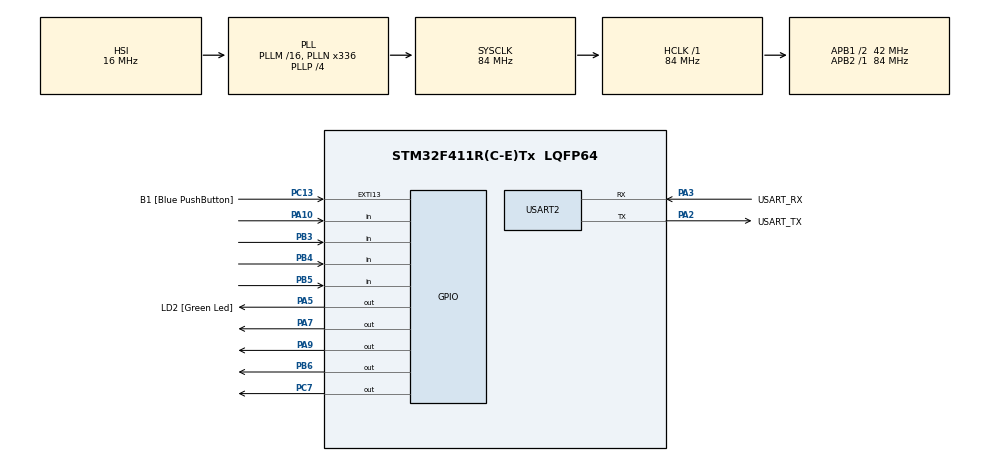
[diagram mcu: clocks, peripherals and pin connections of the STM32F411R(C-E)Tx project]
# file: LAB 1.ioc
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Mcu.Family=STM32F4
Mcu.Name=STM32F411R(C-E)Tx
Mcu.Package=LQFP64
NVIC.PriorityGroup=NVIC_PRIORITYGROUP_0
PA10.Signal=GPIO_Input
PA13.GPIO_Label=TMS
PA13.Mode=Serial_Wire
PA13.Signal=SYS_JTMS-SWDIO
PA14.GPIO_Label=TCK
PA14.Mode=Serial_Wire
PA14.Signal=SYS_JTCK-SWCLK
PA2.GPIO_Label=USART_TX
PA2.Mode=Asynchronous
PA2.Signal=USART2_TX
PA3.GPIO_Label=USART_RX
PA3.Mode=Asynchronous
PA3.Signal=USART2_RX
PA5.GPIO_Label=LD2 [Green Led]
PA5.Signal=GPIO_Output
PA7.Signal=GPIO_Output
PA9.Signal=GPIO_Output
PB3.Signal=GPIO_Input
PB4.Signal=GPIO_Input
PB5.Signal=GPIO_Input
PB6.Signal=GPIO_Output
PC13-ANTI_TAMP.GPIO_Label=B1 [Blue PushButton]
PC13-ANTI_TAMP.GPIO_ModeDefaultEXTI=GPIO_MODE_IT_FALLING
PC13-ANTI_TAMP.Signal=GPXTI13
PC14-OSC32_IN.Mode=LSE-External-Oscillator
PC14-OSC32_IN.Signal=RCC_OSC32_IN
PC15-OSC32_OUT.Mode=LSE-External-Oscillator
PC15-OSC32_OUT.Signal=RCC_OSC32_OUT
PC7.Signal=GPIO_Output
PH0\ -\ OSC_IN.Mode=HSE-External-Clock-Source
PH0\ -\ OSC_IN.Signal=RCC_OSC_IN
PH1\ -\ OSC_OUT.Mode=HSE-External-Clock-Source
PH1\ -\ OSC_OUT.Signal=RCC_OSC_OUT
ProjectManager.HeapSize=0x200
ProjectManager.StackSize=0x400
ProjectManager.TargetToolchain=STM32CubeIDE
RCC.48MHZClocksFreq_Value=84000000
RCC.AHBFreq_Value=84000000
RCC.APB1CLKDivider=RCC_HCLK_DIV2
RCC.APB1Freq_Value=42000000
RCC.APB1TimFreq_Value=84000000
RCC.APB2Freq_Value=84000000
RCC.APB2TimFreq_Value=84000000
RCC.CortexFreq_Value=84000000
RCC.FLatency-AdvancedSettings=FLASH_LATENCY_2
RCC.HCLKFreq_Value=84000000
RCC.HSE_VALUE=8000000
RCC.HSI_VALUE=16000000
RCC.PLLN=336
RCC.PLLP=RCC_PLLP_DIV4
RCC.SYSCLKFreq_VALUE=84000000
RCC.SYSCLKSource=RCC_SYSCLKSOURCE_PLLCLK
RCC.VCOOutputFreq_Value=336000000
USART2.VirtualMode=VM_ASYNC
board=NUCLEO-F411RE

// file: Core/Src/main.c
/* USER CODE BEGIN Header */
/**
  ******************************************************************************
  * @file           : main.c
  * @brief          : Main program body
  ******************************************************************************
  * @attention
  *
  * <h2><center>&copy; Copyright (c) 2021 STMicroelectronics.
  * All rights reserved.</center></h2>
  *
  * This software component is licensed by ST under BSD 3-Clause license,
  * the "License"; You may not use this file except in compliance with the
  * License. You may obtain a copy of the License at:
  *                        opensource.org/licenses/BSD-3-Clause
  *
  ******************************************************************************
  */
/* USER CODE END Header */
#include "main.h"

UART_HandleTypeDef huart2;

void SystemClock_Config(void);
static void MX_GPIO_Init(void);
static void MX_USART2_UART_Init(void);

int main(void)
{

  /* MCU Configuration--------------------------------------------------------*/

  /* Reset of all peripherals, Initializes the Flash interface and the Systick. */
  HAL_Init();

  /* Configure the system clock */
  SystemClock_Config();

  /* Initialize all configured peripherals */
  MX_GPIO_Init();
  MX_USART2_UART_Init();
  /* USER CODE BEGIN 2 */
  GPIO_PinState SwitchStateS1[2]; 	// 2 states => present,last	//Switch S1
  GPIO_PinState SwitchStateS2[2];	// Switch S2
  GPIO_PinState SwitchStateS3[2];	// Switch S3
  uint16_t LED1HalfPeriod = 1000;	// LED D1 Blink at 0.5 Hz as default
  uint32_t TimeStamp = 0;
  uint32_t ButtonTimeStamp = 0;
  uint16_t onoff = 1;				// LED D3 ON as default
  uint16_t mode = 1;				// LED D5 mode 1 => on 0.5 s off 1.5 s, mode 0 => on 1.5 s off 0.5 s
  uint32_t timecount = 0 ;			// TimeCount for LED D5
  /* USER CODE END 2 */

  /* Infinite loop */
  while (1)
  {

    /* USER CODE BEGIN 3 */
	  //default switch state is high==set, pressed switch state is low==reset
	 if(HAL_GetTick() - ButtonTimeStamp >= 100)	//millisecond
	 {
		 ButtonTimeStamp = HAL_GetTick();
		 //Task 1 Start	//Task 2 Start	//Task 3 Start
	  SwitchStateS1[0] = HAL_GPIO_ReadPin(GPIOA, GPIO_PIN_10);	//PA10 => Switch S1
	  SwitchStateS2[0] = HAL_GPIO_ReadPin(GPIOB, GPIO_PIN_3);	//PB3 => Switch S2
	  SwitchStateS3[0] = HAL_GPIO_ReadPin(GPIOB, GPIO_PIN_5);	//PB5 => Switch S3
	  if(SwitchStateS1[1] == GPIO_PIN_SET && SwitchStateS1[0] == GPIO_PIN_RESET) // if last state is high, present state is low => falling edge
	  {
		  // Change Half Period of LED 1
		  if(LED1HalfPeriod == 1000)
		  {
			  LED1HalfPeriod = 500;
		  }
		  else if(LED1HalfPeriod == 500)
		  {
			  LED1HalfPeriod = 250;
		  }
		  else if(LED1HalfPeriod == 250)
		  {
			  LED1HalfPeriod = 500/3;
		  }
		  else
		  {
			  LED1HalfPeriod = 1000;
		  }
	  }
	  SwitchStateS1[1] = SwitchStateS1[0];

	  if(SwitchStateS2[1] == GPIO_PIN_SET && SwitchStateS2[0] == GPIO_PIN_RESET)
	  {
		  if(onoff == 1)	// LED D3 On
		  {
			  HAL_GPIO_WritePin(GPIOC, GPIO_PIN_7, GPIO_PIN_SET);	//PC7 => LED D3
			  onoff = 0;
		  }
		  else				// LED D3 Off
		  {
			  HAL_GPIO_WritePin(GPIOC, GPIO_PIN_7, GPIO_PIN_RESET);
			  onoff = 1;
		  }
	  }
	  SwitchStateS2[1] = SwitchStateS2[0];
	  	  // Task 2 End

	  if(SwitchStateS3[1] == GPIO_PIN_SET && SwitchStateS3[0] == GPIO_PIN_RESET)
	  {
		  if(mode == 1)  //swap mode
		  {
			  mode = 0;
		  }
		  else
		  {
			  mode = 1 ;
		  }
	  }

	  if(mode == 1) // on 0.5 s off 1.5 s	//RESET => LED ON	//SET => LED OFF
	  {
		  if(HAL_GetTick() - timecount >= 500)
		  {
			  if(HAL_GPIO_ReadPin(GPIOB, GPIO_PIN_6) == GPIO_PIN_RESET)
			  {
				  HAL_GPIO_WritePin(GPIOB, GPIO_PIN_6, GPIO_PIN_SET);
				  timecount = HAL_GetTick();
			  }
		  }
		  if(HAL_GetTick() - timecount >= 1500)
		  {
			  if(HAL_GPIO_ReadPin(GPIOB, GPIO_PIN_6) == GPIO_PIN_SET)
			  {
				  HAL_GPIO_WritePin(GPIOB, GPIO_PIN_6, GPIO_PIN_RESET);
				  timecount = HAL_GetTick();
			  }
		  }
	  }

	  if(mode == 0)	// on 1.5 s off 0.5 s
	  {
		  if(HAL_GetTick() - timecount >= 1500)
		  {
			  if(HAL_GPIO_ReadPin(GPIOB, GPIO_PIN_6) == GPIO_PIN_RESET)
			  {
				  HAL_GPIO_WritePin(GPIOB, GPIO_PIN_6, GPIO_PIN_SET);
				  timecount = HAL_GetTick();
			  }
		  }
		  if(HAL_GetTick() - timecount >= 500)
		  {
			  if(HAL_GPIO_ReadPin(GPIOB, GPIO_PIN_6) == GPIO_PIN_SET)
			  {
				  HAL_GPIO_WritePin(GPIOB, GPIO_PIN_6, GPIO_PIN_RESET);
				  timecount = HAL_GetTick();
			  }
		  }
	  }
	  SwitchStateS3[1] = SwitchStateS3[0];
	  	  // Task 3 End
	 }
	  //Run LED Blink
	  if(HAL_GetTick() - TimeStamp >= LED1HalfPeriod)
	  {
		  TimeStamp = HAL_GetTick();
		  //Toggle LED1
		  if(HAL_GPIO_ReadPin(GPIOA, GPIO_PIN_9) == GPIO_PIN_SET)	//PA9 => LED D1
		  {
			  HAL_GPIO_WritePin(GPIOA, GPIO_PIN_9, GPIO_PIN_RESET);
		  }
		  else
		  {
			  HAL_GPIO_WritePin(GPIOA, GPIO_PIN_9, GPIO_PIN_SET);
		  }
	  }	//Task 1 End

  }
  }
  /* USER CODE END 3 */

void SystemClock_Config(void)
{
  RCC_OscInitTypeDef RCC_OscInitStruct = {0};
  RCC_ClkInitTypeDef RCC_ClkInitStruct = {0};

  /** Configure the main internal regulator output voltage
  */
  __HAL_RCC_PWR_CLK_ENABLE();
  __HAL_PWR_VOLTAGESCALING_CONFIG(PWR_REGULATOR_VOLTAGE_SCALE1);
  /** Initializes the RCC Oscillators according to the specified parameters
  * in the RCC_OscInitTypeDef structure.
  */
  RCC_OscInitStruct.OscillatorType = RCC_OSCILLATORTYPE_HSI;
  RCC_OscInitStruct.HSIState = RCC_HSI_ON;
  RCC_OscInitStruct.HSICalibrationValue = RCC_HSICALIBRATION_DEFAULT;
  RCC_OscInitStruct.PLL.PLLState = RCC_PLL_ON;
  RCC_OscInitStruct.PLL.PLLSource = RCC_PLLSOURCE_HSI;
  RCC_OscInitStruct.PLL.PLLM = 16;
  RCC_OscInitStruct.PLL.PLLN = 336;
  RCC_OscInitStruct.PLL.PLLP = RCC_PLLP_DIV4;
  RCC_OscInitStruct.PLL.PLLQ = 4;
  if (HAL_RCC_OscConfig(&RCC_OscInitStruct) != HAL_OK)
  {
    Error_Handler();
  }
  /** Initializes the CPU, AHB and APB buses clocks
  */
  RCC_ClkInitStruct.ClockType = RCC_CLOCKTYPE_HCLK|RCC_CLOCKTYPE_SYSCLK
                              |RCC_CLOCKTYPE_PCLK1|RCC_CLOCKTYPE_PCLK2;
  RCC_ClkInitStruct.SYSCLKSource = RCC_SYSCLKSOURCE_PLLCLK;
  RCC_ClkInitStruct.AHBCLKDivider = RCC_SYSCLK_DIV1;
  RCC_ClkInitStruct.APB1CLKDivider = RCC_HCLK_DIV2;
  RCC_ClkInitStruct.APB2CLKDivider = RCC_HCLK_DIV1;

  if (HAL_RCC_ClockConfig(&RCC_ClkInitStruct, FLASH_LATENCY_2) != HAL_OK)
  {
    Error_Handler();
  }
}

static void MX_USART2_UART_Init(void)
{

  huart2.Instance = USART2;
  huart2.Init.BaudRate = 115200;
  huart2.Init.WordLength = UART_WORDLENGTH_8B;
  huart2.Init.StopBits = UART_STOPBITS_1;
  huart2.Init.Parity = UART_PARITY_NONE;
  huart2.Init.Mode = UART_MODE_TX_RX;
  huart2.Init.HwFlowCtl = UART_HWCONTROL_NONE;
  huart2.Init.OverSampling = UART_OVERSAMPLING_16;
  if (HAL_UART_Init(&huart2) != HAL_OK)
  {
    Error_Handler();
  }

}

static void MX_GPIO_Init(void)
{
  GPIO_InitTypeDef GPIO_InitStruct = {0};

  /* GPIO Ports Clock Enable */
  __HAL_RCC_GPIOC_CLK_ENABLE();
  __HAL_RCC_GPIOH_CLK_ENABLE();
  __HAL_RCC_GPIOA_CLK_ENABLE();
  __HAL_RCC_GPIOB_CLK_ENABLE();

  /*Configure GPIO pin Output Level */
  HAL_GPIO_WritePin(GPIOA, LD2_Pin|GPIO_PIN_7|GPIO_PIN_9, GPIO_PIN_RESET);

  /*Configure GPIO pin Output Level */
  HAL_GPIO_WritePin(GPIOC, GPIO_PIN_7, GPIO_PIN_RESET);

  /*Configure GPIO pin Output Level */
  HAL_GPIO_WritePin(GPIOB, GPIO_PIN_6, GPIO_PIN_RESET);

  /*Configure GPIO pin : B1_Pin */
  GPIO_InitStruct.Pin = B1_Pin;
  GPIO_InitStruct.Mode = GPIO_MODE_IT_FALLING;
  GPIO_InitStruct.Pull = GPIO_NOPULL;
  HAL_GPIO_Init(B1_GPIO_Port, &GPIO_InitStruct);

  /*Configure GPIO pins : LD2_Pin PA7 PA9 */
  GPIO_InitStruct.Pin = LD2_Pin|GPIO_PIN_7|GPIO_PIN_9;
  GPIO_InitStruct.Mode = GPIO_MODE_OUTPUT_PP;
  GPIO_InitStruct.Pull = GPIO_NOPULL;
  GPIO_InitStruct.Speed = GPIO_SPEED_FREQ_LOW;
  HAL_GPIO_Init(GPIOA, &GPIO_InitStruct);

  /*Configure GPIO pin : PC7 */
  GPIO_InitStruct.Pin = GPIO_PIN_7;
  GPIO_InitStruct.Mode = GPIO_MODE_OUTPUT_PP;
  GPIO_InitStruct.Pull = GPIO_NOPULL;
  GPIO_InitStruct.Speed = GPIO_SPEED_FREQ_LOW;
  HAL_GPIO_Init(GPIOC, &GPIO_InitStruct);

  /*Configure GPIO pin : PA10 */
  GPIO_InitStruct.Pin = GPIO_PIN_10;
  GPIO_InitStruct.Mode = GPIO_MODE_INPUT;
  GPIO_InitStruct.Pull = GPIO_NOPULL;
  HAL_GPIO_Init(GPIOA, &GPIO_InitStruct);

  /*Configure GPIO pins : PB3 PB4 PB5 */
  GPIO_InitStruct.Pin = GPIO_PIN_3|GPIO_PIN_4|GPIO_PIN_5;
  GPIO_InitStruct.Mode = GPIO_MODE_INPUT;
  GPIO_InitStruct.Pull = GPIO_NOPULL;
  HAL_GPIO_Init(GPIOB, &GPIO_InitStruct);

  /*Configure GPIO pin : PB6 */
  GPIO_InitStruct.Pin = GPIO_PIN_6;
  GPIO_InitStruct.Mode = GPIO_MODE_OUTPUT_PP;
  GPIO_InitStruct.Pull = GPIO_NOPULL;
  GPIO_InitStruct.Speed = GPIO_SPEED_FREQ_LOW;
  HAL_GPIO_Init(GPIOB, &GPIO_InitStruct);

}

void Error_Handler(void)
{
  __disable_irq();
  while (1)
  {
  }
}

/************************ (C) COPYRIGHT STMicroelectronics *****END OF FILE****/
